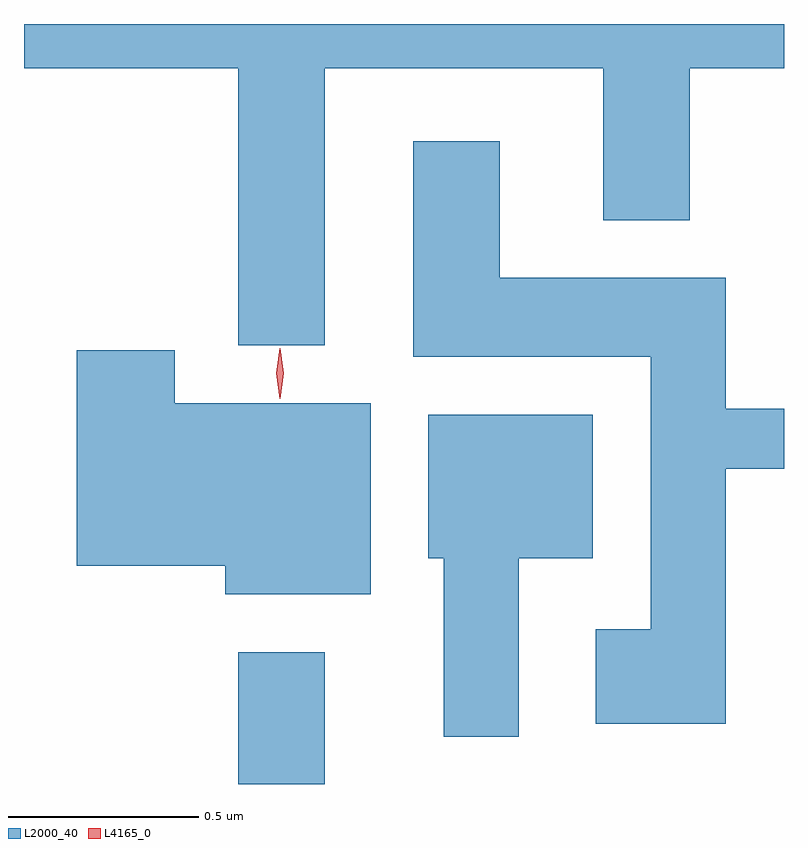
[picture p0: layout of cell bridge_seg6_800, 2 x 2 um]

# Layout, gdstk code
import gdstk
lib = gdstk.Library(unit=1e-6, precision=1e-09)
def R(c, l, rs):  # rectangles x0, y0, x1, y1
    for r in rs: c.add(gdstk.rectangle(r[:2], r[2:], *l))
def P(c, l, *ps):  # polygons
    for p in ps: c.add(gdstk.Polygon(p, *l))
L2000_40 = (2000, 40)
L4165_0 = (4165, 0)

bridge_seg6_800 = lib.new_cell('bridge_seg6_800')
R(bridge_seg6_800, L2000_40, [(482.831,1592.552,483.059,1592.899)])
P(bridge_seg6_800, L2000_40, [(483.059,1594.436),(483.791,1594.436),(483.791,1594.036),(484.019,1594.036),(484.019,1594.436),(484.267,1594.436),(484.267,1594.552),(482.267,1594.552),(482.267,1594.436),(482.831,1594.436),(482.831,1593.706),(483.059,1593.706)],
  [(484.114,1593.381),(484.267,1593.381),(484.267,1593.539),(484.114,1593.539),(484.114,1593.884),(483.519,1593.884),(483.519,1594.244),(483.291,1594.244),(483.291,1593.676),(483.916,1593.676),(483.916,1592.959),(483.771,1592.959),(483.771,1592.711),(484.114,1592.711)],
  [(483.179,1593.554),(482.664,1593.554),(482.664,1593.694),(482.406,1593.694),(482.406,1593.126),(482.796,1593.126),(482.796,1593.051),(483.179,1593.051)],
  [(483.569,1593.146),(483.764,1593.146),(483.764,1593.524),(483.331,1593.524),(483.331,1593.146),(483.371,1593.146),(483.371,1592.676),(483.569,1592.676)])
P(bridge_seg6_800, L4165_0, [(482.94,1593.566),(482.931,1593.633),(482.94,1593.699),(482.941,1593.699),(482.941,1593.699),(482.951,1593.633),(482.941,1593.566),(482.941,1593.566)])

lib.write_gds('bridge_seg6_800.gds')
